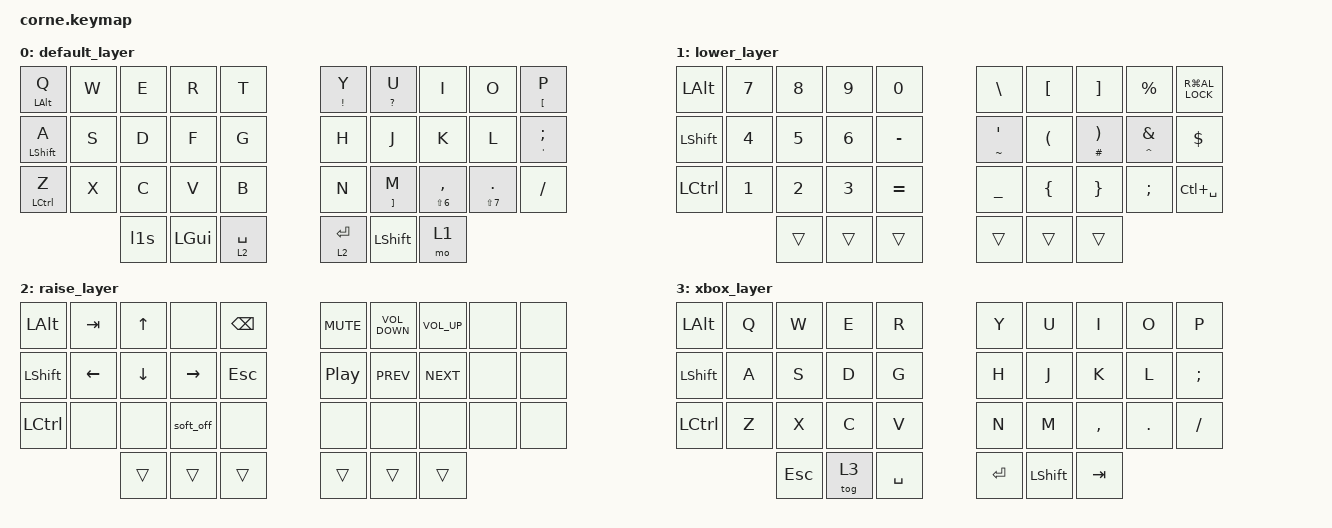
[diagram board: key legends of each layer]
/*
 * Copyright (c) 2020 The ZMK Contributors
 *
 * SPDX-License-Identifier: MIT
 */

#include <behaviors.dtsi>
#include <dt-bindings/zmk/keys.h>
#include <dt-bindings/zmk/bt.h>

&mt {
    flavor = "tap-preferred"; //comment for git action
};
&soft_off {
        hold-time-ms = <3000>; // Only turn off it the key is held for 3 seconds or longer.
};

/ {
        chosen {
                zmk,physical-layout = &foostan_corne_5col_layout;
                zmk,battery = &vbatt;
        };
        vbatt: vbatt {
                compatible = "zmk,battery-nrf-vddh";
                label = "VBATT";
        };
        combos {
                compatible = "zmk,combos";
                combo_bootloader_central {
                timeout-ms = <100>;
                require-prior-idle-ms = <1000>;
                key-positions = <0 1 2 3 32>; // Q + W + E + R + Space
                layers = <0>;
                bindings = <&bootloader>;
                };
                combo_bt_profile_1 {
                timeout-ms = <50>;
                key-positions = <2 3>; // e and r
                layers = <0>;
                bindings = <&bt BT_SEL 0>;
                };
                combo_bt_profile_2 {
                timeout-ms = <50>;
                key-positions = <22 23>; // c and v
                layers = <0>;
                bindings = <&bt BT_SEL 1>;
                };
                combo_xbox_layer_toggle {
                timeout-ms = <100>;
                key-positions = <20 21 22 23 32>; // Z + X + C + V + Space
                layers = <0>;
                bindings = <&tog 3>;
                };
                combo_a_top {
                timeout-ms = <50>;
                key-positions = <2 32>;
                layers = <0>;
                bindings = <&kp LA(W)>; //e and space
                };
                combo_a_bot {
                timeout-ms = <50>;
                key-positions = <12 32>;
                layers = <0>;
                bindings = <&kp LA(S)>;  //d and space
                };
                combo_a_left {
                timeout-ms = <50>;
                key-positions = <11 32>;  //s and space
                layers = <0>;
                bindings = <&kp LA(A)>;
                };
                combo_a_right {
                timeout-ms = <50>;
                key-positions = <13 32>; //f and space
                layers = <0>;
                bindings = <&kp LA(D)>;
                };
                combo_a_v {
                timeout-ms = <50>;
                key-positions = <11 31>; //w and cmd
                layers = <0>;
                bindings = <&kp LA(V)>;
                };
                combo_a_h {
                timeout-ms = <50>;
                key-positions = <13 31>; //r and cmd
                layers = <0>;
                bindings = <&kp LA(H)>;
                };
                combo_a_front {
                timeout-ms = <50>;
                key-positions = <2 31>; //e and cmd
                layers = <0>;
                bindings = <&kp RG(RA(RIGHT_BRACKET))>;
                };
                combo_a_back {
                timeout-ms = <50>;
                key-positions = <12 31>; //d and cmd
                layers = <0>;
                bindings = <&kp RG(RA(LEFT_BRACKET))>;
                };
                combo_screenshot {
                timeout-ms = <50>;
                key-positions = <0 31>; //q and cmd
                layers = <0>;
                bindings = <&kp RG(RS(RC(NUMBER_4)))>;
                };
                combo_fullscreen {
                timeout-ms = <50>;
                key-positions = <24 31>; //b and cmd
                layers = <0>;
                bindings = <&kp RG(PERIOD)>;
                };
                combo_autolayout {
                timeout-ms = <50>;
                key-positions = <14 32>; //a and space
                layers = <0>;
                bindings = <&kp LS(A)>;
                };
        };
        behaviors {
                l1s: tap_dance_mod_tap_3 {
                compatible = "zmk,behavior-tap-dance";
                #binding-cells = <0>;
                tapping-term-ms = <200>;
                bindings = <&mo 1>, <&kp RET>;
                };
        };
        keymap {
                compatible = "zmk,keymap";

                default_layer {
                        bindings = <
                        &mt LALT Q  &kp W   &kp E   &kp R     &kp T        &mt EXCL Y          &mt QUESTION U        &kp I                       &kp O                  &mt LEFT_BRACKET P
                        &mt LSHFT A &kp S   &kp D   &kp F     &kp G        &kp H               &kp J                 &kp K                       &kp L                  &mt SQT SEMI
                        &mt LCTRL Z &kp X   &kp C   &kp V     &kp B        &kp N               &mt RIGHT_BRACKET M   &mt LS(NUMBER_6) COMMA      &mt LS(NUMBER_7) DOT   &kp FSLH
                                            &l1s    &kp LGUI  &lt 2 SPACE  &lt 2 RET           &kp LSHFT             &mo 1
                        >;
                };
                lower_layer {
                        bindings = <
                        &kp LALT   &kp N7  &kp N8   &kp N9    &kp N0       &kp BACKSLASH       &kp LEFT_BRACKET      &kp RIGHT_BRACKET           &kp PERCENT            &kp RG(C_AL_LOCK)
                        &kp LSHFT  &kp N4  &kp N5   &kp N6    &kp MINUS    &mt TILDE SQT       &kp LEFT_PARENTHESIS  &mt HASH RIGHT_PARENTHESIS  &mt CARET AMPERSAND    &kp DOLLAR
                        &kp LCTRL  &kp N1  &kp N2   &kp N3    &kp EQUAL    &kp UNDER           &kp LEFT_BRACE        &kp RIGHT_BRACE             &kp SEMICOLON          &kp LC(SPACE)
                                           &trans   &trans    &trans       &trans              &trans                &trans
                        >;
                };
                raise_layer {
                        bindings = <
                        &kp LALT    &kp TAB         &kp UP_ARROW      &none             &kp BACKSPACE   &kp C_MUTE         &kp C_VOLUME_DOWN &kp C_VOLUME_UP  &none   &none  
                        &kp LSHFT   &kp LEFT_ARROW  &kp DOWN_ARROW    &kp RIGHT_ARROW   &kp ESCAPE      &kp C_PLAY_PAUSE   &kp C_PREV        &kp C_NEXT       &none   &none 
                        &kp LCTRL   &none           &none             &soft_off         &none           &none              &none             &none            &none   &none
                                                    &trans            &trans            &trans          &trans             &trans            &trans
                        >;
                };
                xbox_layer {
                        // Xbox/game layout. Edit the key positions in this block only.
                        bindings = <
                        &kp LALT       &kp Q     &kp W      &kp E      &kp R       &kp Y      &kp U      &kp I      &kp O      &kp P
                        &kp LSHFT      &kp A     &kp S      &kp D      &kp G       &kp H      &kp J      &kp K      &kp L      &kp SEMI
                        &kp LCTRL      &kp Z     &kp X      &kp C      &kp V       &kp N      &kp M      &kp COMMA  &kp DOT    &kp FSLH
                                           &kp ESC     &tog 3     &kp SPACE   &kp RET    &kp LSHFT  &kp TAB
                        >;
                };
        };
};
